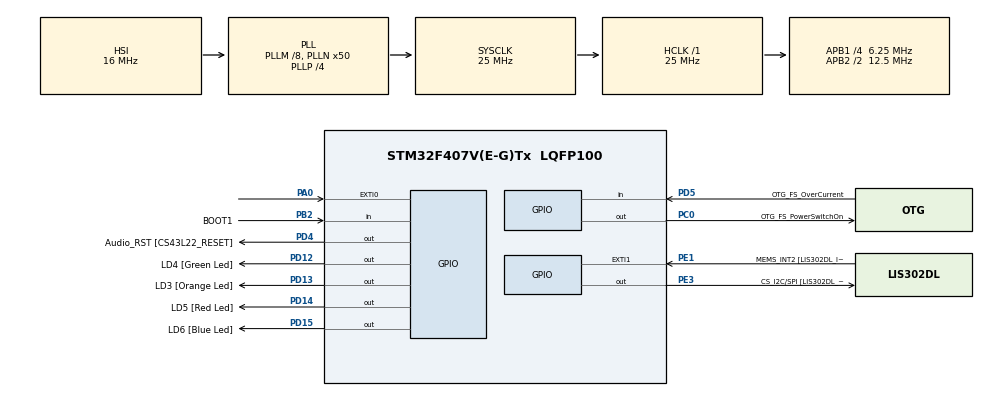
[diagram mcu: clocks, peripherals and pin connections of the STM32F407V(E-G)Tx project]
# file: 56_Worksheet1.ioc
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Mcu.Family=STM32F4
Mcu.Name=STM32F407V(E-G)Tx
Mcu.Package=LQFP100
NVIC.EXTI0_IRQn=true\:0\:0\:false\:false\:true\:true\:true\:true
NVIC.PriorityGroup=NVIC_PRIORITYGROUP_0
PA0-WKUP.Signal=GPXTI0
PA10.GPIO_Label=OTG_FS_ID
PA10.GPIO_Mode=GPIO_MODE_AF_PP
PA10.GPIO_PuPd=GPIO_NOPULL
PA10.GPIO_Speed=GPIO_SPEED_FREQ_LOW
PA10.Signal=USB_OTG_FS_ID
PA11.GPIO_Label=OTG_FS_DM
PA11.GPIO_Mode=GPIO_MODE_AF_PP
PA11.GPIO_PuPd=GPIO_NOPULL
PA11.GPIO_Speed=GPIO_SPEED_FREQ_LOW
PA11.Signal=USB_OTG_FS_DM
PA12.GPIO_Label=OTG_FS_DP
PA12.GPIO_Mode=GPIO_MODE_AF_PP
PA12.GPIO_PuPd=GPIO_NOPULL
PA12.GPIO_Speed=GPIO_SPEED_FREQ_LOW
PA12.Signal=USB_OTG_FS_DP
PA13.GPIO_Label=SWDIO
PA13.Signal=SYS_JTMS-SWDIO
PA14.GPIO_Label=SWCLK
PA14.Signal=SYS_JTCK-SWCLK
PA4.GPIO_Label=I2S3_WS [CS43L22_LRCK]
PA4.GPIO_Mode=GPIO_MODE_AF_PP
PA4.GPIO_PuPd=GPIO_NOPULL
PA4.GPIO_Speed=GPIO_SPEED_FREQ_LOW
PA4.Signal=I2S3_WS
PA5.GPIO_Label=SPI1_SCK [LIS302DL_SCL/SPC]
PA5.GPIO_Mode=GPIO_MODE_AF_PP
PA5.GPIO_PuPd=GPIO_NOPULL
PA5.GPIO_Speed=GPIO_SPEED_FREQ_LOW
PA5.Signal=SPI1_SCK
PA6.GPIO_Label=SPI1_MISO [LIS302DL_SDO]
PA6.GPIO_Mode=GPIO_MODE_AF_PP
PA6.GPIO_PuPd=GPIO_NOPULL
PA6.GPIO_Speed=GPIO_SPEED_FREQ_LOW
PA6.Signal=SPI1_MISO
PA7.GPIO_Label=SPI1_MOSI [LIS302DL_SDA/SDI/SDO]
PA7.GPIO_Mode=GPIO_MODE_AF_PP
PA7.GPIO_PuPd=GPIO_NOPULL
PA7.GPIO_Speed=GPIO_SPEED_FREQ_LOW
PA7.Signal=SPI1_MOSI
PA9.GPIO_Label=VBUS_FS
PA9.GPIO_Mode=GPIO_MODE_INPUT
PA9.GPIO_PuPd=GPIO_NOPULL
PA9.Signal=USB_OTG_FS_VBUS
PB10.GPIO_Label=CLK_IN [MP45DT02_CLK]
PB10.GPIO_Mode=GPIO_MODE_AF_PP
PB10.GPIO_PuPd=GPIO_NOPULL
PB10.GPIO_Speed=GPIO_SPEED_FREQ_LOW
PB10.Signal=I2S2_CK
PB2.GPIO_Label=BOOT1
PB2.GPIO_Mode=GPIO_MODE_INPUT
PB2.GPIO_PuPd=GPIO_NOPULL
PB2.Signal=GPIO_Input
PB3.GPIO_Label=SWO
PB3.Signal=SYS_JTDO-SWO
PB6.GPIO_Label=Audio_SCL [CS43L22_SCL]
PB6.GPIO_Mode=GPIO_MODE_AF_OD
PB6.GPIO_PuPd=GPIO_NOPULL
PB6.GPIO_Speed=GPIO_SPEED_FREQ_LOW
PB6.Signal=I2C1_SCL
PB9.GPIO_Label=Audio_SDA [CS43L22_SDA]
PB9.GPIO_Mode=GPIO_MODE_AF_OD
PB9.GPIO_PuPd=GPIO_NOPULL
PB9.GPIO_Speed=GPIO_SPEED_FREQ_LOW
PB9.Signal=I2C1_SDA
PC0.GPIO_Label=OTG_FS_PowerSwitchOn
PC0.GPIO_PuPd=GPIO_NOPULL
PC0.GPIO_Speed=GPIO_SPEED_FREQ_LOW
PC0.PinState=GPIO_PIN_SET
PC0.Signal=GPIO_Output
PC10.GPIO_Label=I2S3_SCK [CS43L22_SCLK]
PC10.GPIO_Mode=GPIO_MODE_AF_PP
PC10.GPIO_PuPd=GPIO_NOPULL
PC10.GPIO_Speed=GPIO_SPEED_FREQ_LOW
PC10.Signal=I2S3_CK
PC12.GPIO_Label=I2S3_SD [CS43L22_SDIN]
PC12.GPIO_Mode=GPIO_MODE_AF_PP
PC12.GPIO_PuPd=GPIO_NOPULL
PC12.GPIO_Speed=GPIO_SPEED_FREQ_LOW
PC12.Signal=I2S3_SD
PC14-OSC32_IN.GPIO_Label=PC14-OSC32_IN
PC14-OSC32_IN.Signal=RCC_OSC32_IN
PC15-OSC32_OUT.GPIO_Label=PC15-OSC32_OUT
PC15-OSC32_OUT.Signal=RCC_OSC32_OUT
PC3.GPIO_Label=PDM_OUT [MP45DT02_DOUT]
PC3.GPIO_Mode=GPIO_MODE_AF_PP
PC3.GPIO_PuPd=GPIO_NOPULL
PC3.GPIO_Speed=GPIO_SPEED_FREQ_LOW
PC3.Signal=I2S2_SD
PC7.GPIO_Label=I2S3_MCK [CS43L22_MCLK]
PC7.GPIO_Mode=GPIO_MODE_AF_PP
PC7.GPIO_PuPd=GPIO_NOPULL
PC7.GPIO_Speed=GPIO_SPEED_FREQ_LOW
PC7.Signal=I2S3_MCK
PD12.GPIO_Label=LD4 [Green Led]
PD12.GPIO_PuPd=GPIO_NOPULL
PD12.GPIO_Speed=GPIO_SPEED_FREQ_LOW
PD12.Signal=GPIO_Output
PD13.GPIO_Label=LD3 [Orange Led]
PD13.GPIO_PuPd=GPIO_NOPULL
PD13.GPIO_Speed=GPIO_SPEED_FREQ_LOW
PD13.Signal=GPIO_Output
PD14.GPIO_Label=LD5 [Red Led]
PD14.GPIO_PuPd=GPIO_NOPULL
PD14.GPIO_Speed=GPIO_SPEED_FREQ_LOW
PD14.Signal=GPIO_Output
PD15.GPIO_Label=LD6 [Blue Led]
PD15.GPIO_PuPd=GPIO_NOPULL
PD15.GPIO_Speed=GPIO_SPEED_FREQ_LOW
PD15.Signal=GPIO_Output
PD4.GPIO_Label=Audio_RST [CS43L22_RESET]
PD4.GPIO_PuPd=GPIO_NOPULL
PD4.GPIO_Speed=GPIO_SPEED_FREQ_LOW
PD4.Signal=GPIO_Output
PD5.GPIO_Label=OTG_FS_OverCurrent
PD5.GPIO_Mode=GPIO_MODE_INPUT
PD5.GPIO_PuPd=GPIO_NOPULL
PD5.Signal=GPIO_Input
PE1.GPIO_Label=MEMS_INT2 [LIS302DL_INT2]
PE1.GPIO_ModeDefaultEXTI=GPIO_MODE_EVT_RISING
PE1.GPIO_PuPd=GPIO_NOPULL
PE1.Signal=GPXTI1
PE3.GPIO_Label=CS_I2C/SPI [LIS302DL_CS_I2C/SPI]
PE3.GPIO_PuPd=GPIO_NOPULL
PE3.GPIO_Speed=GPIO_SPEED_FREQ_LOW
PE3.Signal=GPIO_Output
PH0-OSC_IN.GPIO_Label=PH0-OSC_IN
PH0-OSC_IN.Signal=RCC_OSC_IN
PH1-OSC_OUT.GPIO_Label=PH1-OSC_OUT
PH1-OSC_OUT.Signal=RCC_OSC_OUT
ProjectManager.HeapSize=0x200
ProjectManager.StackSize=0x400
ProjectManager.TargetToolchain=STM32CubeIDE
RCC.48MHZClocksFreq_Value=14285714.285714285
RCC.AHBFreq_Value=25000000
RCC.APB1CLKDivider=RCC_HCLK_DIV4
RCC.APB1Freq_Value=6250000
RCC.APB1TimFreq_Value=12500000
RCC.APB2CLKDivider=RCC_HCLK_DIV2
RCC.APB2Freq_Value=12500000
RCC.APB2TimFreq_Value=25000000
RCC.CortexFreq_Value=25000000
RCC.HCLKFreq_Value=25000000
RCC.HSE_VALUE=8000000
RCC.HSI_VALUE=16000000
RCC.LSE_VALUE=32768
RCC.PLLM=8
RCC.PLLN=50
RCC.PLLP=RCC_PLLP_DIV4
RCC.PLLQ=7
RCC.SYSCLKFreq_VALUE=25000000
RCC.SYSCLKSource=RCC_SYSCLKSOURCE_PLLCLK
RCC.VCOOutputFreq_Value=100000000
board=STM32F407G-DISC1

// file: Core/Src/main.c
/* USER CODE BEGIN Header */
/**
  ******************************************************************************
  * @file           : main.c
  * @brief          : Main program body
  ******************************************************************************
  * @attention
  *
  * Copyright (c) 2026 STMicroelectronics.
  * All rights reserved.
  *
  * This software is licensed under terms that can be found in the LICENSE file
  * in the root directory of this software component.
  * If no LICENSE file comes with this software, it is provided AS-IS.
  *
  ******************************************************************************
  */
/* USER CODE END Header */
#include "main.h"

/* USER CODE BEGIN PV */
uint32_t press_time = 0;
uint32_t last_interrupt = 0;
uint32_t last_press = 0;
uint32_t press_start = 0;
uint8_t button_pressed = 0;
/* USER CODE END PV */

void SystemClock_Config(void);
static void MX_GPIO_Init(void);

int main(void)
{

  /* MCU Configuration--------------------------------------------------------*/

  /* Reset of all peripherals, Initializes the Flash interface and the Systick. */
  HAL_Init();

  /* Configure the system clock */
  SystemClock_Config();

  /* Initialize all configured peripherals */
  MX_GPIO_Init();

  /* Infinite loop */
  while (1)
  {

    /* USER CODE BEGIN 3 */
	  if(button_pressed)
	  {
	      if(HAL_GPIO_ReadPin(GPIOA, GPIO_PIN_0) == GPIO_PIN_RESET)
	      {
	          uint32_t press_time = HAL_GetTick() - press_start;

	          if(press_time >= 2000)
	          {
	              for(int i=0;i<3;i++)
	              {
	                  HAL_GPIO_TogglePin(GPIOD, GPIO_PIN_12);
	                  HAL_Delay(100);

	                  HAL_GPIO_TogglePin(GPIOD, GPIO_PIN_12);
	                  HAL_Delay(100);
	              }
	          }
	          else
	          {
	              HAL_GPIO_TogglePin(GPIOD, GPIO_PIN_12);
	          }

	          button_pressed = 0;
	      }
	  }

  }
  /* USER CODE END 3 */
}

void SystemClock_Config(void)
{
  RCC_OscInitTypeDef RCC_OscInitStruct = {0};
  RCC_ClkInitTypeDef RCC_ClkInitStruct = {0};

  /** Configure the main internal regulator output voltage
  */
  __HAL_RCC_PWR_CLK_ENABLE();
  __HAL_PWR_VOLTAGESCALING_CONFIG(PWR_REGULATOR_VOLTAGE_SCALE1);

  /** Initializes the RCC Oscillators according to the specified parameters
  * in the RCC_OscInitTypeDef structure.
  */
  RCC_OscInitStruct.OscillatorType = RCC_OSCILLATORTYPE_HSI;
  RCC_OscInitStruct.HSIState = RCC_HSI_ON;
  RCC_OscInitStruct.HSICalibrationValue = RCC_HSICALIBRATION_DEFAULT;
  RCC_OscInitStruct.PLL.PLLState = RCC_PLL_ON;
  RCC_OscInitStruct.PLL.PLLSource = RCC_PLLSOURCE_HSI;
  RCC_OscInitStruct.PLL.PLLM = 8;
  RCC_OscInitStruct.PLL.PLLN = 50;
  RCC_OscInitStruct.PLL.PLLP = RCC_PLLP_DIV4;
  RCC_OscInitStruct.PLL.PLLQ = 7;
  if (HAL_RCC_OscConfig(&RCC_OscInitStruct) != HAL_OK)
  {
    Error_Handler();
  }

  /** Initializes the CPU, AHB and APB buses clocks
  */
  RCC_ClkInitStruct.ClockType = RCC_CLOCKTYPE_HCLK|RCC_CLOCKTYPE_SYSCLK
                              |RCC_CLOCKTYPE_PCLK1|RCC_CLOCKTYPE_PCLK2;
  RCC_ClkInitStruct.SYSCLKSource = RCC_SYSCLKSOURCE_PLLCLK;
  RCC_ClkInitStruct.AHBCLKDivider = RCC_SYSCLK_DIV1;
  RCC_ClkInitStruct.APB1CLKDivider = RCC_HCLK_DIV4;
  RCC_ClkInitStruct.APB2CLKDivider = RCC_HCLK_DIV2;

  if (HAL_RCC_ClockConfig(&RCC_ClkInitStruct, FLASH_LATENCY_0) != HAL_OK)
  {
    Error_Handler();
  }
}

static void MX_GPIO_Init(void)
{
  GPIO_InitTypeDef GPIO_InitStruct = {0};

  /* GPIO Ports Clock Enable */
  __HAL_RCC_GPIOE_CLK_ENABLE();
  __HAL_RCC_GPIOC_CLK_ENABLE();
  __HAL_RCC_GPIOH_CLK_ENABLE();
  __HAL_RCC_GPIOA_CLK_ENABLE();
  __HAL_RCC_GPIOB_CLK_ENABLE();
  __HAL_RCC_GPIOD_CLK_ENABLE();

  /*Configure GPIO pin Output Level */
  HAL_GPIO_WritePin(CS_I2C_SPI_GPIO_Port, CS_I2C_SPI_Pin, GPIO_PIN_RESET);

  /*Configure GPIO pin Output Level */
  HAL_GPIO_WritePin(OTG_FS_PowerSwitchOn_GPIO_Port, OTG_FS_PowerSwitchOn_Pin, GPIO_PIN_SET);

  /*Configure GPIO pin Output Level */
  HAL_GPIO_WritePin(GPIOD, LD4_Pin|LD3_Pin|LD5_Pin|LD6_Pin
                          |Audio_RST_Pin, GPIO_PIN_RESET);

  /*Configure GPIO pin : CS_I2C_SPI_Pin */
  GPIO_InitStruct.Pin = CS_I2C_SPI_Pin;
  GPIO_InitStruct.Mode = GPIO_MODE_OUTPUT_PP;
  GPIO_InitStruct.Pull = GPIO_NOPULL;
  GPIO_InitStruct.Speed = GPIO_SPEED_FREQ_LOW;
  HAL_GPIO_Init(CS_I2C_SPI_GPIO_Port, &GPIO_InitStruct);

  /*Configure GPIO pin : OTG_FS_PowerSwitchOn_Pin */
  GPIO_InitStruct.Pin = OTG_FS_PowerSwitchOn_Pin;
  GPIO_InitStruct.Mode = GPIO_MODE_OUTPUT_PP;
  GPIO_InitStruct.Pull = GPIO_NOPULL;
  GPIO_InitStruct.Speed = GPIO_SPEED_FREQ_LOW;
  HAL_GPIO_Init(OTG_FS_PowerSwitchOn_GPIO_Port, &GPIO_InitStruct);

  /*Configure GPIO pin : PDM_OUT_Pin */
  GPIO_InitStruct.Pin = PDM_OUT_Pin;
  GPIO_InitStruct.Mode = GPIO_MODE_AF_PP;
  GPIO_InitStruct.Pull = GPIO_NOPULL;
  GPIO_InitStruct.Speed = GPIO_SPEED_FREQ_LOW;
  GPIO_InitStruct.Alternate = GPIO_AF5_SPI2;
  HAL_GPIO_Init(PDM_OUT_GPIO_Port, &GPIO_InitStruct);

  /*Configure GPIO pin : PA0 */
  GPIO_InitStruct.Pin = GPIO_PIN_0;
  GPIO_InitStruct.Mode = GPIO_MODE_IT_RISING;
  GPIO_InitStruct.Pull = GPIO_NOPULL;
  HAL_GPIO_Init(GPIOA, &GPIO_InitStruct);

  /*Configure GPIO pin : I2S3_WS_Pin */
  GPIO_InitStruct.Pin = I2S3_WS_Pin;
  GPIO_InitStruct.Mode = GPIO_MODE_AF_PP;
  GPIO_InitStruct.Pull = GPIO_NOPULL;
  GPIO_InitStruct.Speed = GPIO_SPEED_FREQ_LOW;
  GPIO_InitStruct.Alternate = GPIO_AF6_SPI3;
  HAL_GPIO_Init(I2S3_WS_GPIO_Port, &GPIO_InitStruct);

  /*Configure GPIO pins : SPI1_SCK_Pin SPI1_MISO_Pin SPI1_MOSI_Pin */
  GPIO_InitStruct.Pin = SPI1_SCK_Pin|SPI1_MISO_Pin|SPI1_MOSI_Pin;
  GPIO_InitStruct.Mode = GPIO_MODE_AF_PP;
  GPIO_InitStruct.Pull = GPIO_NOPULL;
  GPIO_InitStruct.Speed = GPIO_SPEED_FREQ_LOW;
  GPIO_InitStruct.Alternate = GPIO_AF5_SPI1;
  HAL_GPIO_Init(GPIOA, &GPIO_InitStruct);

  /*Configure GPIO pin : BOOT1_Pin */
  GPIO_InitStruct.Pin = BOOT1_Pin;
  GPIO_InitStruct.Mode = GPIO_MODE_INPUT;
  GPIO_InitStruct.Pull = GPIO_NOPULL;
  HAL_GPIO_Init(BOOT1_GPIO_Port, &GPIO_InitStruct);

  /*Configure GPIO pin : CLK_IN_Pin */
  GPIO_InitStruct.Pin = CLK_IN_Pin;
  GPIO_InitStruct.Mode = GPIO_MODE_AF_PP;
  GPIO_InitStruct.Pull = GPIO_NOPULL;
  GPIO_InitStruct.Speed = GPIO_SPEED_FREQ_LOW;
  GPIO_InitStruct.Alternate = GPIO_AF5_SPI2;
  HAL_GPIO_Init(CLK_IN_GPIO_Port, &GPIO_InitStruct);

  /*Configure GPIO pins : LD4_Pin LD3_Pin LD5_Pin LD6_Pin
                           Audio_RST_Pin */
  GPIO_InitStruct.Pin = LD4_Pin|LD3_Pin|LD5_Pin|LD6_Pin
                          |Audio_RST_Pin;
  GPIO_InitStruct.Mode = GPIO_MODE_OUTPUT_PP;
  GPIO_InitStruct.Pull = GPIO_NOPULL;
  GPIO_InitStruct.Speed = GPIO_SPEED_FREQ_LOW;
  HAL_GPIO_Init(GPIOD, &GPIO_InitStruct);

  /*Configure GPIO pins : I2S3_MCK_Pin I2S3_SCK_Pin I2S3_SD_Pin */
  GPIO_InitStruct.Pin = I2S3_MCK_Pin|I2S3_SCK_Pin|I2S3_SD_Pin;
  GPIO_InitStruct.Mode = GPIO_MODE_AF_PP;
  GPIO_InitStruct.Pull = GPIO_NOPULL;
  GPIO_InitStruct.Speed = GPIO_SPEED_FREQ_LOW;
  GPIO_InitStruct.Alternate = GPIO_AF6_SPI3;
  HAL_GPIO_Init(GPIOC, &GPIO_InitStruct);

  /*Configure GPIO pin : VBUS_FS_Pin */
  GPIO_InitStruct.Pin = VBUS_FS_Pin;
  GPIO_InitStruct.Mode = GPIO_MODE_INPUT;
  GPIO_InitStruct.Pull = GPIO_NOPULL;
  HAL_GPIO_Init(VBUS_FS_GPIO_Port, &GPIO_InitStruct);

  /*Configure GPIO pins : OTG_FS_ID_Pin OTG_FS_DM_Pin OTG_FS_DP_Pin */
  GPIO_InitStruct.Pin = OTG_FS_ID_Pin|OTG_FS_DM_Pin|OTG_FS_DP_Pin;
  GPIO_InitStruct.Mode = GPIO_MODE_AF_PP;
  GPIO_InitStruct.Pull = GPIO_NOPULL;
  GPIO_InitStruct.Speed = GPIO_SPEED_FREQ_LOW;
  GPIO_InitStruct.Alternate = GPIO_AF10_OTG_FS;
  HAL_GPIO_Init(GPIOA, &GPIO_InitStruct);

  /*Configure GPIO pin : OTG_FS_OverCurrent_Pin */
  GPIO_InitStruct.Pin = OTG_FS_OverCurrent_Pin;
  GPIO_InitStruct.Mode = GPIO_MODE_INPUT;
  GPIO_InitStruct.Pull = GPIO_NOPULL;
  HAL_GPIO_Init(OTG_FS_OverCurrent_GPIO_Port, &GPIO_InitStruct);

  /*Configure GPIO pins : Audio_SCL_Pin Audio_SDA_Pin */
  GPIO_InitStruct.Pin = Audio_SCL_Pin|Audio_SDA_Pin;
  GPIO_InitStruct.Mode = GPIO_MODE_AF_OD;
  GPIO_InitStruct.Pull = GPIO_NOPULL;
  GPIO_InitStruct.Speed = GPIO_SPEED_FREQ_LOW;
  GPIO_InitStruct.Alternate = GPIO_AF4_I2C1;
  HAL_GPIO_Init(GPIOB, &GPIO_InitStruct);

  /*Configure GPIO pin : MEMS_INT2_Pin */
  GPIO_InitStruct.Pin = MEMS_INT2_Pin;
  GPIO_InitStruct.Mode = GPIO_MODE_EVT_RISING;
  GPIO_InitStruct.Pull = GPIO_NOPULL;
  HAL_GPIO_Init(MEMS_INT2_GPIO_Port, &GPIO_InitStruct);

  /* EXTI interrupt init*/
  HAL_NVIC_SetPriority(EXTI0_IRQn, 0, 0);
  HAL_NVIC_EnableIRQ(EXTI0_IRQn);

}

/* USER CODE BEGIN 4 */
void HAL_GPIO_EXTI_Callback(uint16_t GPIO_Pin)
{
    if(GPIO_Pin == GPIO_PIN_0)
    {
        press_start = HAL_GetTick();
        button_pressed = 1;
    }
}
/* USER CODE END 4 */

void Error_Handler(void)
{
  __disable_irq();
  while (1)
  {
  }
}
